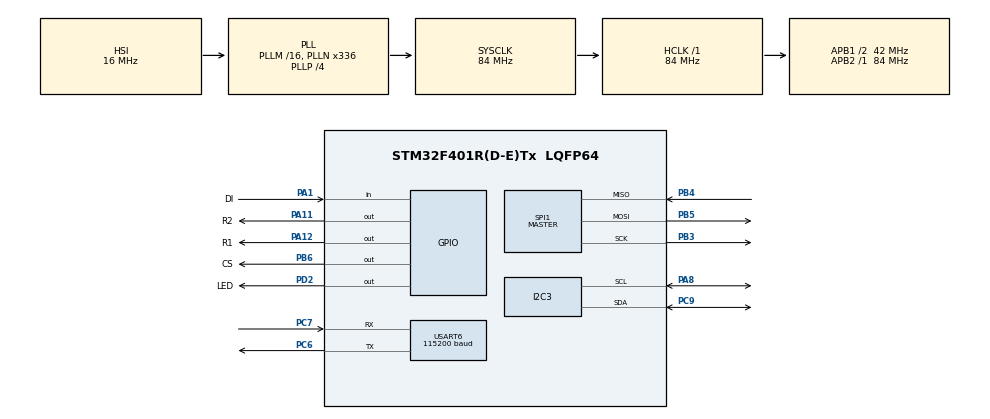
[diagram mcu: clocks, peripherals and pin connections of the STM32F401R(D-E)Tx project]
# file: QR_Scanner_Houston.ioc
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I2C3.I2C_Mode=I2C_Fast
Mcu.Family=STM32F4
Mcu.Name=STM32F401R(D-E)Tx
Mcu.Package=LQFP64
NVIC.PriorityGroup=NVIC_PRIORITYGROUP_4
NVIC.TIM3_IRQn=true\:0\:0\:false\:false\:true\:true\:true\:true
NVIC.USART6_IRQn=true\:0\:0\:false\:false\:true\:true\:true\:true
PA1.GPIO_Label=DI
PA1.GPIO_PuPd=GPIO_PULLUP
PA1.Signal=GPIO_Input
PA11.GPIO_Label=R2
PA11.Signal=GPIO_Output
PA12.GPIO_Label=R1
PA12.Signal=GPIO_Output
PA8.GPIO_Pu=GPIO_PULLUP
PA8.Mode=I2C
PA8.Signal=I2C3_SCL
PB3.Mode=Full_Duplex_Master
PB3.Signal=SPI1_SCK
PB4.Mode=Full_Duplex_Master
PB4.Signal=SPI1_MISO
PB5.Mode=Full_Duplex_Master
PB5.Signal=SPI1_MOSI
PB6.GPIO_Label=CS
PB6.Signal=GPIO_Output
PC6.Mode=Asynchronous
PC6.Signal=USART6_TX
PC7.Mode=Asynchronous
PC7.Signal=USART6_RX
PC9.GPIO_Pu=GPIO_PULLUP
PC9.Mode=I2C
PC9.Signal=I2C3_SDA
PD2.GPIO_Label=LED
PD2.Signal=GPIO_Output
PH0\ -\ OSC_IN.Mode=HSE-External-Clock-Source
PH0\ -\ OSC_IN.Signal=RCC_OSC_IN
PH1\ -\ OSC_OUT.Mode=HSE-External-Clock-Source
PH1\ -\ OSC_OUT.Signal=RCC_OSC_OUT
ProjectManager.HeapSize=0x200
ProjectManager.StackSize=0x400
ProjectManager.TargetToolchain=STM32CubeIDE
RCC.48MHZClocksFreq_Value=48000000
RCC.AHBFreq_Value=84000000
RCC.APB1CLKDivider=RCC_HCLK_DIV2
RCC.APB1Freq_Value=42000000
RCC.APB1TimFreq_Value=84000000
RCC.APB2Freq_Value=84000000
RCC.APB2TimFreq_Value=84000000
RCC.CortexFreq_Value=84000000
RCC.HCLKFreq_Value=84000000
RCC.HSE_VALUE=8000000
RCC.HSI_VALUE=16000000
RCC.PLLN=336
RCC.PLLP=RCC_PLLP_DIV4
RCC.PLLQ=7
RCC.SYSCLKFreq_VALUE=84000000
RCC.SYSCLKSource=RCC_SYSCLKSOURCE_PLLCLK
RCC.VCOOutputFreq_Value=336000000
SPI1.BaudRatePrescaler=SPI_BAUDRATEPRESCALER_16
SPI1.Direction=SPI_DIRECTION_2LINES
SPI1.Mode=SPI_MODE_MASTER
SPI1.VirtualType=VM_MASTER
TIM3.Period=62499
TIM3.Prescaler=671
USART6.BaudRate=115200
USART6.VirtualMode=VM_ASYNC
VP_TIM3_VS_ClockSourceINT.Mode=Internal
board=NUCLEO-F401RE

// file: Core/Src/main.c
/* USER CODE BEGIN Header */
/**
  ******************************************************************************
  * @file           : main.c
  * @brief          : Main program body
  ******************************************************************************
  * @attention
  *
  * Copyright (c) 2025 STMicroelectronics.
  * All rights reserved.
  *
  * This software is licensed under terms that can be found in the LICENSE file
  * in the root directory of this software component.
  * If no LICENSE file comes with this software, it is provided AS-IS.
  *
  ******************************************************************************
  */
/* USER CODE END Header */
#include "main.h"

/* USER CODE BEGIN Includes */
#include "socket.h"
#include "wizchip_conf.h"
#include "loopback.h"
#include "w5500.h"
#include "dhcp.h"
#include "net_config.h"
#include "http_server.h"
#include "mac_eeprom.h"
#include <stdio.h>
#include <string.h>
#include "stm32f4xx_hal.h"
/* USER CODE END Includes */

/* USER CODE BEGIN PD */
//#define HLT_CMD "|HLT%"
/* USER CODE END PD */

I2C_HandleTypeDef hi2c3;

SPI_HandleTypeDef hspi1;

TIM_HandleTypeDef htim3;

UART_HandleTypeDef huart6;

/* USER CODE BEGIN PV */
uint8_t socket_buf[100];     						// Buffer to receive data
uint8_t rcvBuf[20],bufSize[8]={2,2,2,2,2,2,2,2};
int32_t len;										//Len of data recived
wiz_NetInfo getInfo ={ .mac={0},  					//Mac address
	  		  	  	   .ip ={0}, 					// IP address
	    			   .sn ={0},					//Subnet mask
	    			   .gw ={0}};					//Gateway address

char RxData[100]={0};
char RxLen=0;
char Flag=0;
char TxData[120] = {0};  // New array to hold data to be sent
int TxLen = 0;          // Length of the data to be sent
char timer=0,timer2=0,flag2=0;
char relayFlg=0;

/* USER CODE END PV */

void SystemClock_Config(void);
static void MX_GPIO_Init(void);
static void MX_SPI1_Init(void);
static void MX_USART6_UART_Init(void);
static void MX_TIM3_Init(void);
static void MX_I2C3_Init(void);

/* USER CODE BEGIN 0 */
//// SPI Functions  /////
void cs_sel(){
	 HAL_GPIO_WritePin(CS_GPIO_Port, CS_Pin, GPIO_PIN_RESET);
}
void cs_desel(){
	HAL_GPIO_WritePin(CS_GPIO_Port, CS_Pin, GPIO_PIN_SET);
}
uint8_t spi_rb(void){
	uint8_t rbuf;
	HAL_SPI_Receive(&hspi1,&rbuf,1,0xFFFFFFFF);
	return rbuf;
}
void spi_wb(uint8_t b){
	HAL_SPI_Transmit(&hspi1,&b,1,0xFFFFFFFF);
}

//#define MAX_DHCP_RETRY 5
//#define SOCK_DHCP 1
//
//uint8_t dhcp_buffer[1024];
//wiz_NetInfo netInfo;
//
//void my_ip_assign(void)
//{
//    getIPfromDHCP(netInfo.ip);
//    getGWfromDHCP(netInfo.gw);
//    getSNfromDHCP(netInfo.sn);
//    getDNSfromDHCP(netInfo.dns);
//    netInfo.dhcp = NETINFO_DHCP;
//    setSHAR(netInfo.mac);
//    wizchip_setnetinfo(&netInfo);
//
//    printf("DHCP assigned IP: %d.%d.%d.%d\r\n",
//        netInfo.ip[0], netInfo.ip[1], netInfo.ip[2], netInfo.ip[3]);
//}
//
//void my_ip_conflict(void)
//{
//    printf("IP conflict detected by DHCP!\r\n");
//    // Handle conflict - possibly halt or retry
//}

/* USER CODE END 0 */

int main(void)
{

  /* MCU Configuration--------------------------------------------------------*/

  /* Reset of all peripherals, Initializes the Flash interface and the Systick. */
  HAL_Init();

  /* Configure the system clock */
  SystemClock_Config();

  /* Initialize all configured peripherals */
  MX_GPIO_Init();
  MX_SPI1_Init();
  MX_USART6_UART_Init();
  MX_TIM3_Init();
  MX_I2C3_Init();
  /* USER CODE BEGIN 2 */
   reg_wizchip_cs_cbfunc(cs_sel,cs_desel);
   reg_wizchip_spi_cbfunc(spi_rb,spi_wb);
   wizchip_init(bufSize,bufSize);
   wiz_NetInfo netInfo;
   uint8_t haveFlashConfig = NetConfig_Load(&netInfo);
   if (!haveFlashConfig)
   {
	   wiz_NetInfo defaultNetInfo ={ .mac={0x00,0x09,0xdc,0xab,0xcd,0xef}, //Mac address (fallback if EEPROM read fails)
			   	   	   	   	   	     .ip ={192,168,1,100}, 					// IP address
			   	   	   	   	   	     .sn ={255,255,255,0},					//Subnet mask
			   	   	   	   	   	     .gw ={192,168,1,1}};					//Gateway address
	   netInfo = defaultNetInfo;
   }

   uint8_t eepromMac[6];
   if (MAC_EEPROM_Read(&hi2c3, eepromMac))						// 24AA02E48T on I2C3 - real, unique MAC
   {
	   memcpy(netInfo.mac, eepromMac, 6);
   }

   uint8_t forceDefaultIp = (HAL_GPIO_ReadPin(DI_GPIO_Port, DI_Pin) == GPIO_PIN_RESET); // DI held LOW at power-on -> factory reset network config
   if (forceDefaultIp)
   {
	   uint8_t defIp[4] = {192,168,1,100};
	   uint8_t defSn[4] = {255,255,255,0};
	   uint8_t defGw[4] = {192,168,1,1};
	   memcpy(netInfo.ip, defIp, 4);
	   memcpy(netInfo.sn, defSn, 4);
	   memcpy(netInfo.gw, defGw, 4);
   }

   if (!haveFlashConfig || forceDefaultIp)
   {
	   NetConfig_Save(&netInfo);								// persist first-time defaults / DI factory reset (incl. EEPROM MAC if found)
   }

   HAL_Delay(500);
   wizchip_setnetinfo(&netInfo);
   HAL_Delay(500);
   wizchip_getnetinfo(&getInfo);

   HAL_UARTEx_ReceiveToIdle_IT(&huart6,RxData,50);
   HAL_TIM_Base_Start_IT(&htim3);
//   HAL_GPIO_WritePin(R1_GPIO_Port, R1_Pin, GPIO_PIN_SET);
//   HAL_GPIO_WritePin(R2_GPIO_Port, R2_Pin, GPIO_PIN_SET);
   //// this is for DHCP protocol ////

//   wiz_NetInfo netInfo = {
//       .mac = {0x00, 0x08, 0xdc, 0xab, 0xcd, 0xef},
//       .dhcp = NETINFO_DHCP // Set DHCP mode
//   };
//
//   setSHAR(netInfo.mac);  // Set MAC address
//   wizchip_setnetinfo(&netInfo);
//
//   // Initialize DHCP
//   DHCP_init(SOCK_DHCP, dhcp_buffer);
//   reg_dhcp_cbfunc(my_ip_assign, my_ip_assign, my_ip_conflict);

//   int dhcp_retry = 0;
//   while (1)
//   {
//       int8_t dhcp_status = DHCP_run();
//
//       if (dhcp_status == DHCP_IP_LEASED || dhcp_status == DHCP_IP_CHANGED)
//       {
//           printf("DHCP Success\r\n");
//           break;
//       }
//       else if (dhcp_status == DHCP_FAILED)
//       {
//           dhcp_retry++;
//           if (dhcp_retry > MAX_DHCP_RETRY)
//           {
////               printf("DHCP Failed - Falling back or resetting...\r\n");
////               // Optionally assign static IP or reset
////               while (1); // Halt or reset system
//           }
//       }
//
//       HAL_Delay(1000); // Wait a bit before retrying
//   }

//// END here for DHCP protocol ////

	#define SOCK_TCPS 0         							     // Socket 0
	#define PORT_TCPS 6000     								     // Listening port
	socket(SOCK_TCPS, Sn_MR_TCP, PORT_TCPS, 0); 				 // Open TCP socket
	listen(SOCK_TCPS);

	HTTPServer_Init();											 // Socket 1, port 80 - web-based network settings
  /* USER CODE END 2 */

  /* Infinite loop */
  while (1)
  {

    /* USER CODE BEGIN 3 */

	  HTTPServer_Poll();

	  switch (getSn_SR(SOCK_TCPS)) {
	 	 	          case SOCK_ESTABLISHED:
	 	 	              if (getSn_IR(SOCK_TCPS) & Sn_IR_CON)
	 	 	              {
	 	 	                  setSn_IR(SOCK_TCPS, Sn_IR_CON); 			// Clear connection interrupt
	 	 	                  printf("Client connected\r\n");
	 	 	              }
	 	 	             uint8_t phy = getPHYCFGR();
	 					   if ((phy & 0x01) == 0) {
	 						   	   	   	   	   	   	   	   	   	   	   	// Link is down
	 						   close(SOCK_TCPS);
	 						   socket(SOCK_TCPS, Sn_MR_TCP, PORT_TCPS, 0);
	 						   listen(SOCK_TCPS);
	 					   }
	 	 	              // Check for received data
	 	 	              if ((len = getSn_RX_RSR(SOCK_TCPS)) > 0) {
	 	 	                  len = recv(SOCK_TCPS, socket_buf, len);  // Receive data
	 	 	                  socket_buf[len] = 0; // Null terminate
	 	 	                  printf("Received: %s\r\n", socket_buf);

	 	 	                // Check command and respond
	 	 	                    if (strcmp((char*)socket_buf, "|OPENEN%\r\n") == 0) {
	 	 	                    	send(SOCK_TCPS, "|OK%\n", strlen("|OK%\n"));
	 	 	                        HAL_GPIO_WritePin(R1_GPIO_Port, R1_Pin, GPIO_PIN_SET);
	 	 	                      HAL_GPIO_WritePin(R1_GPIO_Port, R2_Pin, GPIO_PIN_SET);
	 	 	                      relayFlg=1;
//	 	 	                        strcpy((char*)socket_buf, "R1ON ok");
//	 	 	                        send(SOCK_TCPS, socket_buf, strlen((char*)socket_buf));
//	 	 	                    }
//	 	 	                        else if (strcmp((char*)socket_buf, "R1OFF") == 0) {
//	 	 	                         HAL_GPIO_WritePin(R1_GPIO_Port, R1_Pin, GPIO_PIN_SET);
//	 	 	                        strcpy((char*)socket_buf, "R1OFF ok");
//	 	 	                        send(SOCK_TCPS, socket_buf, strlen((char*)socket_buf));
	 	 	                    }
//	 	 	                    else {
	 	 	                        // Optional: handle unknown command
//	 	 	                        strcpy((char*)socket_buf, "Unknown command");
//	 	 	                        send(SOCK_TCPS, socket_buf, strlen((char*)socket_buf));
//	 	 	                    }
	 	 	                  // Echo back the received data
//	 	 	                  send(SOCK_TCPS, socket_buf, len);
	 	 	              }
//	 	 	              uint8_t tx_buf[64];

	 	 	              if(flag2)
	 	 	              {
							  flag2=0;
							  timer2=0;
							  send(SOCK_TCPS, "|HLT%\n", strlen("|HLT%\n"));
	 	 	              }

	 	 	            if(Flag)
	 	 	            {
//	 	 	            	 Step 1: Find "QR" and "END"
	 	 	            	    char *start = strstr(RxData, "QR");
	 	 	            	    char *end = strstr(RxData, "END");

	 	 	            	    if (start != NULL && end != NULL && end > start)
	 	 	            	    {
	 	 	            	        start += 2; // move past "QR"

	 	 	            	        int data_len = end - start; // Length of data between QR and END

	 	 	            	        char extracted[50] = {0};
	 	 	            	        strncpy(extracted, start, data_len);
	 	 	            	        extracted[data_len] = '\0';

	 	 	            	        // Step 2: Format as ENDATA-<data>END
	 	 	            	        sprintf(TxData, "|ENQR-%s%%\n", extracted);

	 	 	            	        // Step 3: Calculate length
	 	 	            	        TxLen = strlen(TxData);

	 	 	            	        // Step 4: Send
	 	 	            	        if (Flag) {
	 	 	            	            send(SOCK_TCPS, TxData, TxLen);
	 	 	            	          HAL_GPIO_TogglePin (GPIOD, GPIO_PIN_2);
//
	 	 	            	            Flag = 0;
	 	 	            	        }
	 	 	            	    }
//	 	 	            	 send(SOCK_TCPS, RxData, RxLen);
//	 	 	            	 Flag=0;
	 	 	            }
	 	 	              break;

	 	 	          case SOCK_CLOSE_WAIT:
	 	 	              close(SOCK_TCPS);
	 	 	              socket(SOCK_TCPS, Sn_MR_TCP, PORT_TCPS, 0);
	 	 	              listen(SOCK_TCPS);
	 	 	              break;

	 	 	          case SOCK_CLOSED:
	 	 	              socket(SOCK_TCPS, Sn_MR_TCP, PORT_TCPS, 0);
	 	 	              listen(SOCK_TCPS);
	 	 	              break;

	 	 	          default:
	 	 	              break;
	 	 	      }
  }
  /* USER CODE END 3 */
}

void SystemClock_Config(void)
{
  RCC_OscInitTypeDef RCC_OscInitStruct = {0};
  RCC_ClkInitTypeDef RCC_ClkInitStruct = {0};

  /** Configure the main internal regulator output voltage
  */
  __HAL_RCC_PWR_CLK_ENABLE();
  __HAL_PWR_VOLTAGESCALING_CONFIG(PWR_REGULATOR_VOLTAGE_SCALE2);

  /** Initializes the RCC Oscillators according to the specified parameters
  * in the RCC_OscInitTypeDef structure.
  */
  RCC_OscInitStruct.OscillatorType = RCC_OSCILLATORTYPE_HSI;
  RCC_OscInitStruct.HSIState = RCC_HSI_ON;
  RCC_OscInitStruct.HSICalibrationValue = RCC_HSICALIBRATION_DEFAULT;
  RCC_OscInitStruct.PLL.PLLState = RCC_PLL_ON;
  RCC_OscInitStruct.PLL.PLLSource = RCC_PLLSOURCE_HSI;
  RCC_OscInitStruct.PLL.PLLM = 16;
  RCC_OscInitStruct.PLL.PLLN = 336;
  RCC_OscInitStruct.PLL.PLLP = RCC_PLLP_DIV4;
  RCC_OscInitStruct.PLL.PLLQ = 7;
  if (HAL_RCC_OscConfig(&RCC_OscInitStruct) != HAL_OK)
  {
    Error_Handler();
  }

  /** Initializes the CPU, AHB and APB buses clocks
  */
  RCC_ClkInitStruct.ClockType = RCC_CLOCKTYPE_HCLK|RCC_CLOCKTYPE_SYSCLK
                              |RCC_CLOCKTYPE_PCLK1|RCC_CLOCKTYPE_PCLK2;
  RCC_ClkInitStruct.SYSCLKSource = RCC_SYSCLKSOURCE_PLLCLK;
  RCC_ClkInitStruct.AHBCLKDivider = RCC_SYSCLK_DIV1;
  RCC_ClkInitStruct.APB1CLKDivider = RCC_HCLK_DIV2;
  RCC_ClkInitStruct.APB2CLKDivider = RCC_HCLK_DIV1;

  if (HAL_RCC_ClockConfig(&RCC_ClkInitStruct, FLASH_LATENCY_2) != HAL_OK)
  {
    Error_Handler();
  }
}

static void MX_I2C3_Init(void)
{

  hi2c3.Instance = I2C3;
  hi2c3.Init.ClockSpeed = 400000;
  hi2c3.Init.DutyCycle = I2C_DUTYCYCLE_2;
  hi2c3.Init.OwnAddress1 = 0;
  hi2c3.Init.AddressingMode = I2C_ADDRESSINGMODE_7BIT;
  hi2c3.Init.DualAddressMode = I2C_DUALADDRESS_DISABLE;
  hi2c3.Init.OwnAddress2 = 0;
  hi2c3.Init.GeneralCallMode = I2C_GENERALCALL_DISABLE;
  hi2c3.Init.NoStretchMode = I2C_NOSTRETCH_DISABLE;
  if (HAL_I2C_Init(&hi2c3) != HAL_OK)
  {
    Error_Handler();
  }

}

static void MX_SPI1_Init(void)
{

  /* SPI1 parameter configuration*/
  hspi1.Instance = SPI1;
  hspi1.Init.Mode = SPI_MODE_MASTER;
  hspi1.Init.Direction = SPI_DIRECTION_2LINES;
  hspi1.Init.DataSize = SPI_DATASIZE_8BIT;
  hspi1.Init.CLKPolarity = SPI_POLARITY_LOW;
  hspi1.Init.CLKPhase = SPI_PHASE_1EDGE;
  hspi1.Init.NSS = SPI_NSS_SOFT;
  hspi1.Init.BaudRatePrescaler = SPI_BAUDRATEPRESCALER_16;
  hspi1.Init.FirstBit = SPI_FIRSTBIT_MSB;
  hspi1.Init.TIMode = SPI_TIMODE_DISABLE;
  hspi1.Init.CRCCalculation = SPI_CRCCALCULATION_DISABLE;
  hspi1.Init.CRCPolynomial = 10;
  if (HAL_SPI_Init(&hspi1) != HAL_OK)
  {
    Error_Handler();
  }

}

static void MX_TIM3_Init(void)
{

  TIM_ClockConfigTypeDef sClockSourceConfig = {0};
  TIM_MasterConfigTypeDef sMasterConfig = {0};

  htim3.Instance = TIM3;
  htim3.Init.Prescaler = 671;
  htim3.Init.CounterMode = TIM_COUNTERMODE_UP;
  htim3.Init.Period = 62499;
  htim3.Init.ClockDivision = TIM_CLOCKDIVISION_DIV1;
  htim3.Init.AutoReloadPreload = TIM_AUTORELOAD_PRELOAD_DISABLE;
  if (HAL_TIM_Base_Init(&htim3) != HAL_OK)
  {
    Error_Handler();
  }
  sClockSourceConfig.ClockSource = TIM_CLOCKSOURCE_INTERNAL;
  if (HAL_TIM_ConfigClockSource(&htim3, &sClockSourceConfig) != HAL_OK)
  {
    Error_Handler();
  }
  sMasterConfig.MasterOutputTrigger = TIM_TRGO_RESET;
  sMasterConfig.MasterSlaveMode = TIM_MASTERSLAVEMODE_DISABLE;
  if (HAL_TIMEx_MasterConfigSynchronization(&htim3, &sMasterConfig) != HAL_OK)
  {
    Error_Handler();
  }

}

static void MX_USART6_UART_Init(void)
{

  huart6.Instance = USART6;
  huart6.Init.BaudRate = 115200;
  huart6.Init.WordLength = UART_WORDLENGTH_8B;
  huart6.Init.StopBits = UART_STOPBITS_1;
  huart6.Init.Parity = UART_PARITY_NONE;
  huart6.Init.Mode = UART_MODE_TX_RX;
  huart6.Init.HwFlowCtl = UART_HWCONTROL_NONE;
  huart6.Init.OverSampling = UART_OVERSAMPLING_16;
  if (HAL_UART_Init(&huart6) != HAL_OK)
  {
    Error_Handler();
  }

}

static void MX_GPIO_Init(void)
{
  GPIO_InitTypeDef GPIO_InitStruct = {0};

  /* GPIO Ports Clock Enable */
  __HAL_RCC_GPIOH_CLK_ENABLE();
  __HAL_RCC_GPIOA_CLK_ENABLE();
  __HAL_RCC_GPIOC_CLK_ENABLE();
  __HAL_RCC_GPIOD_CLK_ENABLE();
  __HAL_RCC_GPIOB_CLK_ENABLE();

  /*Configure GPIO pin Output Level */
  HAL_GPIO_WritePin(GPIOA, R2_Pin|R1_Pin, GPIO_PIN_RESET);

  /*Configure GPIO pin Output Level */
  HAL_GPIO_WritePin(LED_GPIO_Port, LED_Pin, GPIO_PIN_RESET);

  /*Configure GPIO pin Output Level */
  HAL_GPIO_WritePin(CS_GPIO_Port, CS_Pin, GPIO_PIN_RESET);

  /*Configure GPIO pin : DI_Pin */
  GPIO_InitStruct.Pin = DI_Pin;
  GPIO_InitStruct.Mode = GPIO_MODE_INPUT;
  GPIO_InitStruct.Pull = GPIO_PULLUP;
  HAL_GPIO_Init(DI_GPIO_Port, &GPIO_InitStruct);

  /*Configure GPIO pins : R2_Pin R1_Pin */
  GPIO_InitStruct.Pin = R2_Pin|R1_Pin;
  GPIO_InitStruct.Mode = GPIO_MODE_OUTPUT_PP;
  GPIO_InitStruct.Pull = GPIO_NOPULL;
  GPIO_InitStruct.Speed = GPIO_SPEED_FREQ_LOW;
  HAL_GPIO_Init(GPIOA, &GPIO_InitStruct);

  /*Configure GPIO pin : LED_Pin */
  GPIO_InitStruct.Pin = LED_Pin;
  GPIO_InitStruct.Mode = GPIO_MODE_OUTPUT_PP;
  GPIO_InitStruct.Pull = GPIO_NOPULL;
  GPIO_InitStruct.Speed = GPIO_SPEED_FREQ_LOW;
  HAL_GPIO_Init(LED_GPIO_Port, &GPIO_InitStruct);

  /*Configure GPIO pin : CS_Pin */
  GPIO_InitStruct.Pin = CS_Pin;
  GPIO_InitStruct.Mode = GPIO_MODE_OUTPUT_PP;
  GPIO_InitStruct.Pull = GPIO_NOPULL;
  GPIO_InitStruct.Speed = GPIO_SPEED_FREQ_LOW;
  HAL_GPIO_Init(CS_GPIO_Port, &GPIO_InitStruct);

  /* USER CODE BEGIN MX_GPIO_Init_2 */
//  HAL_GPIO_WritePin(R1_GPIO_Port, R1_Pin, GPIO_PIN_SET);
//HAL_GPIO_WritePin(R1_GPIO_Port, R2_Pin, GPIO_PIN_SET);
  /* USER CODE END MX_GPIO_Init_2 */
}

/* USER CODE BEGIN 4 */
void HAL_UARTEx_RxEventCallback(UART_HandleTypeDef *huart, uint16_t Size)
{

    if(huart->Instance==USART6)
   	{
   		RxLen = Size;
   		Flag=1;
   		HAL_UARTEx_ReceiveToIdle_IT(&huart6,RxData,50);
   	 HAL_GPIO_TogglePin (GPIOD, GPIO_PIN_2);
//    	counter1++;
//   		if(RxLen5>4)
//   		{
//   			FL.Flag.FlgRX5=1;
//   		}
   	}
}
void HAL_TIM_PeriodElapsedCallback(TIM_HandleTypeDef* htim)
{
	timer2++;
	if(timer2>6)flag2=1;
	if(relayFlg) timer++;			//500 ms intrrupt
	if(timer>1) 					// after 2 sec relay off
		{
		timer=0;
		relayFlg=0;
		HAL_GPIO_WritePin(R1_GPIO_Port, R1_Pin, GPIO_PIN_RESET);
		HAL_GPIO_WritePin(R1_GPIO_Port, R2_Pin, GPIO_PIN_RESET);
		}
}

/* USER CODE END 4 */

void Error_Handler(void)
{
  __disable_irq();
  while (1)
  {
  }
}
